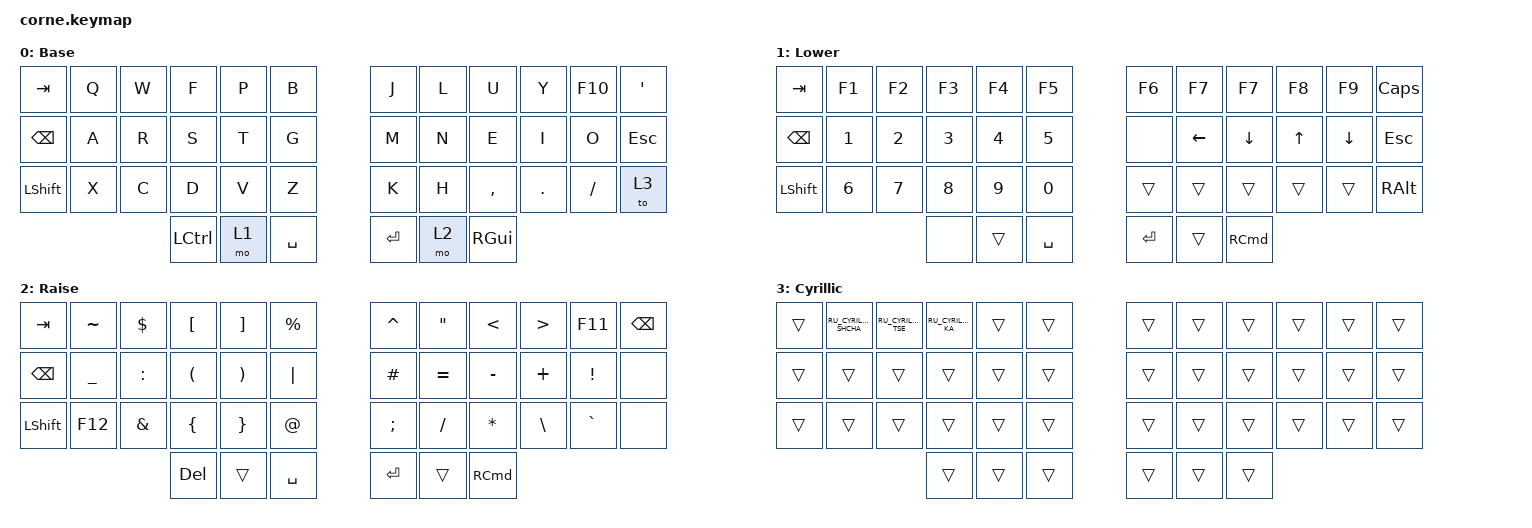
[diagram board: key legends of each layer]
/*
 * Copyright (c) 2020 The ZMK Contributors
 *
 * SPDX-License-Identifier: MIT
 */

#include "keys_ru.h"
#include <behaviors.dtsi>
#include <dt-bindings/zmk/keys.h>

/ {
    combos {
        compatible = "zmk,combos";

        cyrillic_layer {
            bindings = <&to 3>;
            key-positions = <38 39>;
        };
    };

    keymap {
        compatible = "zmk,keymap";

        default_layer {
            // -----------------------------------------------------------------------------------------
            // |  TAB |  Q  |  W  |  F  |  P  |  B  |   |  J  |  L   |  U  |  Y  |  ;  | BKSP |
            // | CTRL |  A  |  R  |  S  |  T  |  G  |   |  M  |  N   |  E  |  I  |  O  |  '   |
            // | SHFT |  X  |  C  |  D  |  V  |  Z  |   |  K  |  H   |  ,  |  .  |  /  | ESC  |
            //                    | GUI | LWR | SPC |   | ENT | RSE  | ALT |

            display-name = "Base";
            bindings = <
&kp TAB        &kp Q  &kp W  &kp F             &kp P  &kp B        &kp J    &kp L  &kp U          &kp Y    &kp F10   &kp APOS
&kp BACKSPACE  &kp A  &kp R  &kp S             &kp T  &kp G        &kp M    &kp N  &kp E          &kp I    &kp O     &kp ESCAPE
&kp LSHFT      &kp X  &kp C  &kp D             &kp V  &kp Z        &kp K    &kp H  &kp COMMA      &kp DOT  &kp FSLH  &to 3
                             &kp LEFT_CONTROL  &mo 1  &kp SPACE    &kp RET  &mo 2  &kp RIGHT_GUI
            >;
        };

        lower_layer {
            // -----------------------------------------------------------------------------------------
            // |  TAB |  1  |  2  |  3  |  4  |  5  |   |  6  |  7  |  8  |  9  |  0  | BKSP |
            // | BTCLR| BT1 | BT2 | BT3 | BT4 | BT5 |   | LFT | DWN |  UP | RGT |     |      |
            // | SHFT |     |     |     |     |     |   |     |     |     |     |     |      |
            //                    | GUI |     | SPC |   | ENT |     | ALT |

            display-name = "Lower";
            bindings = <
&kp TAB        &kp F1        &kp F2        &kp F3        &kp F4        &kp F5       &kp F6   &kp F7    &kp F7    &kp F8        &kp F9    &kp CAPS
&kp BACKSPACE  &kp NUMBER_1  &kp NUMBER_2  &kp NUMBER_3  &kp NUMBER_4  &kp N5       &none    &kp LEFT  &kp DOWN  &kp UP_ARROW  &kp DOWN  &kp ESCAPE
&kp LSHFT      &kp NUMBER_6  &kp N7        &kp N8        &kp N9        &kp N0       &trans   &trans    &trans    &trans        &trans    &kp RIGHT_ALT
                                           &none         &trans        &kp SPACE    &kp RET  &trans    &kp RCMD
            >;
        };

        raise_layer {
            // -----------------------------------------------------------------------------------------
            // |  TAB |  !  |  @  |  #  |  $  |  %  |   |  ^  |  &  |  *  |  (  |  )  | BKSP |
            // | CTRL |     |     |     |     |     |   |  -  |  =  |  [  |  ]  |  \  |  `   |
            // | SHFT |     |     |     |     |     |   |  _  |  +  |  {  |  }  | "|" |  ~   |
            //                    | GUI |     | SPC |   | ENT |     | ALT |

            display-name = "Raise";
            bindings = <
&kp TAB        &kp TILDE  &kp DOLLAR  &kp LEFT_BRACKET      &kp RIGHT_BRACKET      &kp PRCNT    &kp CARET      &kp DOUBLE_QUOTES  &kp LESS_THAN  &kp GREATER_THAN  &kp F11          &kp BSPC
&kp BACKSPACE  &kp UNDER  &kp COLON   &kp LEFT_PARENTHESIS  &kp RIGHT_PARENTHESIS  &kp PIPE     &kp HASH       &kp EQUAL          &kp MINUS      &kp PLUS          &kp EXCLAMATION  &none
&kp LSHFT      &kp F12    &kp AMPS    &kp LEFT_BRACE        &kp RIGHT_BRACE        &kp AT       &kp SEMICOLON  &kp SLASH          &kp STAR       &kp BACKSLASH     &kp GRAVE        &none
                                      &kp DELETE            &trans                 &kp SPACE    &kp RET        &trans             &kp RCMD
            >;
        };

        Cyrillic {
            bindings = <
&trans  &kp RU_CYRILLIC_SHCHA  &kp RU_CYRILLIC_TSE  &kp RU_CYRILLIC_KA  &trans  &trans    &trans  &trans  &trans  &trans  &trans  &trans
&trans  &trans                 &trans               &trans              &trans  &trans    &trans  &trans  &trans  &trans  &trans  &trans
&trans  &trans                 &trans               &trans              &trans  &trans    &trans  &trans  &trans  &trans  &trans  &trans
                                                    &trans              &trans  &trans    &trans  &trans  &trans
            >;
        };
    };
};
